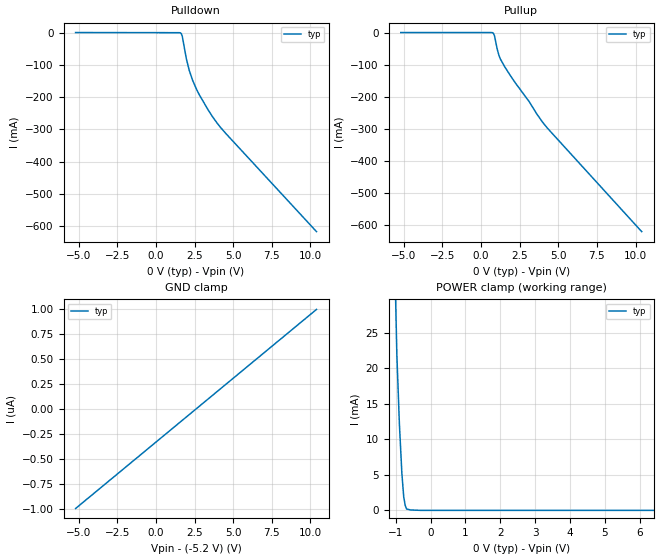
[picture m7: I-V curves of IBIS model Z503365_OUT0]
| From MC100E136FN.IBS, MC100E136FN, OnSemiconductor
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| (C) COPYRIGHT 1993-2000
| MENTOR GRAPHICS CORPORATION
| ICX STANDARD LIBRARY, ICX PROJECT MODELING,
| ICX CUSTOM MODELING, ICX VENDOR MODEL
| ALL RIGHTS RESERVED.
| THE FOLLOWING ARE TRADEMARKS OR SERVICE MARKS OF
| MENTOR GRAPHICS CORPORATION:ICX (R), ICX STANDARD
| LIBRARY(R), ICX PROJECT MODELING(R), ICX CUSTOM
| MODELING(R), qualityIBIS(TM), MODELVIEWER(TM),
| AND MODELEDITOR(TM)
| ALL COPIES OF SOFTWARE, INCLUDING BUT NOT LIMITED TO
| ANY MODIFICATIONS, ENHANCEMENTS OR DERIVATIVE WORKS,
| MUST CONTAIN ALL MENTOR GRAPHICS CORPORATION'S
| NOTICES AND LEGENDS, INCLUDING THOSE EMBEDDED IN
| SOFTWARE AND THOSE AFFIXED TO SOFTWARE MEDIUM
| AND CONTAINER, AS RECEIVED FROM MENTOR GRAPHICS
| CORPORATION.
| Model Application Version 1.89 2/18/99.
[Model] Z503365_OUT0
Model_type Output_ECL
Vref=-2.000V
Rref=50.00ohms
Cref=0.000F
Vmeas=-1.320V
C_comp 8.000pF NA NA
| variable typ   min   max
[Voltage Range] -5.200V NA NA
[POWER Clamp Reference] 0.000V NA NA
[Pullup Reference] 0.000V NA NA
[Pulldown Reference] 0.000V NA NA
[GND Clamp Reference] -5.200V NA NA
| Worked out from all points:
|   POWER clamp passes 1 mA (typ) near -0.74 V on its own axis
[GND Clamp]
-5.2V     -1uA       NA         NA
10.4V     1uA        NA         NA
[Pulldown]
-5.2V     443.5uA    NA         NA
1.483V    5.723uA    NA         NA
1.641V    -2.598mA   NA         NA
1.709V    -11.18mA   NA         NA
1.973V    -81.11mA   NA         NA
2.154V    -116.1mA   NA         NA
2.378V    -147.8mA   NA         NA
2.808V    -192.4mA   NA         NA
3.672V    -260.9mA   NA         NA
4.175V    -293.2mA   NA         NA
4.531V    -312.8mA   NA         NA
10.4V     -617.1mA   NA         NA
[Pullup]
-5.2V     38.47uA    NA         NA
664.1mV   -9.205uA   NA         NA
803.5mV   -2.557mA   NA         NA
873.5mV   -10.82mA   NA         NA
1.045V    -51.93mA   NA         NA
1.164V    -72.56mA   NA         NA
1.25V     -82.81mA   NA         NA
1.896V    -134.5mA   NA         NA
3.124V    -216.6mA   NA         NA
3.952V    -278.3mA   NA         NA
4.308V    -299.5mA   NA         NA
10.4V     -622.3mA   NA         NA
[POWER Clamp]
-5.2V     1.923A     NA         NA
-1.206V   92.78mA    NA         NA
-1.06V    42.35mA    NA         NA
-966.7mV  21.94mA    NA         NA
-893.6mV  12.13mA    NA         NA
-822.4mV  5.163mA    NA         NA
-769mV    1.873mA    NA         NA
-726.7mV  692.1uA    NA         NA
-688.2mV  196uA      NA         NA
-571.3mV  53.23uA    NA         NA
-285.7mV  0A         NA         NA
10.4V     0A         NA         NA
[Ramp]
| variable typ min max
dV/dt_r 452.3m/592.8p NA NA
dV/dt_f 452.3m/536.8p NA NA
R_load = 50.00Ohms
